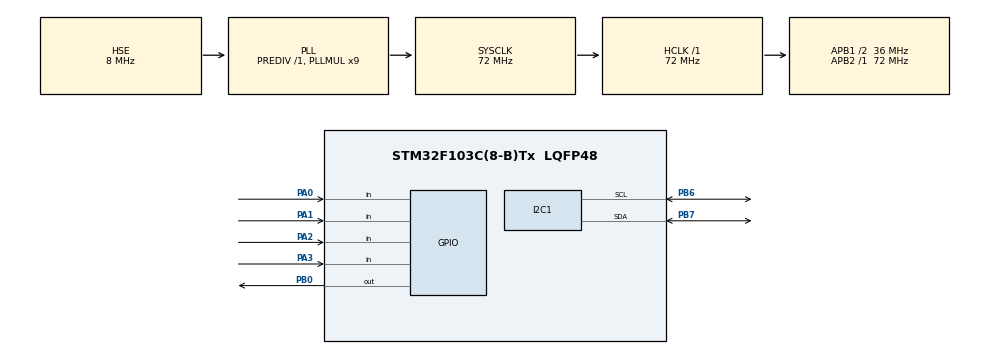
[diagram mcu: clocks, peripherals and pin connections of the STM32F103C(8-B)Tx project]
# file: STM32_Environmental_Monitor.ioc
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IWDG.Prescaler=IWDG_PRESCALER_64
IWDG.Reload=1250
Mcu.Family=STM32F1
Mcu.Name=STM32F103C(8-B)Tx
Mcu.Package=LQFP48
NVIC.PriorityGroup=NVIC_PRIORITYGROUP_4
PA0-WKUP.GPIO_PuPd=GPIO_PULLUP
PA0-WKUP.Signal=GPIO_Input
PA1.GPIO_PuPd=GPIO_PULLUP
PA1.Signal=GPIO_Input
PA13.Mode=Serial_Wire
PA13.Signal=SYS_JTMS-SWDIO
PA14.Mode=Serial_Wire
PA14.Signal=SYS_JTCK-SWCLK
PA2.GPIO_PuPd=GPIO_PULLUP
PA2.Signal=GPIO_Input
PA3.GPIO_PuPd=GPIO_PULLUP
PA3.Signal=GPIO_Input
PB0.GPIO_PuPd=GPIO_NOPULL
PB0.Signal=GPIO_Output
PB6.Mode=I2C
PB6.Signal=I2C1_SCL
PB7.Mode=I2C
PB7.Signal=I2C1_SDA
PD0-OSC_IN.Mode=HSE-External-Oscillator
PD0-OSC_IN.Signal=RCC_OSC_IN
PD1-OSC_OUT.Mode=HSE-External-Oscillator
PD1-OSC_OUT.Signal=RCC_OSC_OUT
ProjectManager.HeapSize=0x200
ProjectManager.StackSize=0x400
ProjectManager.TargetToolchain=CMake
RCC.AHBFreq_Value=72000000
RCC.APB1CLKDivider=RCC_HCLK_DIV2
RCC.APB1Freq_Value=36000000
RCC.APB1TimFreq_Value=72000000
RCC.APB2Freq_Value=72000000
RCC.APB2TimFreq_Value=72000000
RCC.HCLKFreq_Value=72000000
RCC.PLLMUL=RCC_PLL_MUL9
RCC.PLLSourceVirtual=RCC_PLLSOURCE_HSE
RCC.SYSCLKFreq_VALUE=72000000
RCC.SYSCLKSource=RCC_SYSCLKSOURCE_PLLCLK
RCC.USBFreq_Value=72000000
VP_IWDG_VS_IWDG.Mode=IWDG_Activate
board=custom

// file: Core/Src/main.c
/* USER CODE BEGIN Header */
/**
  ******************************************************************************
  * @file           : main.c
  * @brief          : Main program body
  ******************************************************************************
  * @attention
  *
  * Copyright (c) 2026 STMicroelectronics.
  * All rights reserved.
  *
  * This software is licensed under terms that can be found in the LICENSE file
  * in the root directory of this software component.
  * If no LICENSE file comes with this software, it is provided AS-IS.
  *
  ******************************************************************************
  */
/* USER CODE END Header */
#include "main.h"
#include "i2c.h"
#include "iwdg.h"
#include "gpio.h"

/* USER CODE BEGIN Includes */
#include "oled.h"
#include "sht30.h"
#include "led.h"
#include "param_manager.h"
#include "power_monitor.h"
#include "env_monitor.h"
#include "alarm_ctrl.h"
#include "key_handler.h"
/* USER CODE END Includes */

/* USER CODE BEGIN PTD */
static I2C_Bus_Ctx i2c1_ctx;
static OLED_Ctx oled_ctx;
static SHT30_Ctx sht30_ctx;
/* USER CODE END PTD */

void SystemClock_Config(void);

int main(void)
{

  /* USER CODE BEGIN 1 */
    uint32_t now_tick = 0;

  /* USER CODE END 1 */

  /* MCU Configuration--------------------------------------------------------*/

  /* Reset of all peripherals, Initializes the Flash interface and the Systick. */
  HAL_Init();

  /* Configure the system clock */
  SystemClock_Config();

  /* Initialize all configured peripherals */
  MX_GPIO_Init();
  MX_I2C1_Init();
  MX_IWDG_Init();
  /* USER CODE BEGIN 2 */
    I2C_Bus_Init(&i2c1_ctx, &hi2c1);
    OLED_Init(&oled_ctx, &i2c1_ctx);
    SHT30_Init(&sht30_ctx, &i2c1_ctx);

    // 恢复阈值。必须在打开PVD中断之前完成
    Param_Init();
    // 打开掉电检测，开启PVD掉电检测中断
    Power_Monitor_Init();

    EnvMonitor_Init(&sht30_ctx, &oled_ctx);

  /* USER CODE END 2 */

  /* Infinite loop */
  /* USER CODE BEGIN WHILE */
    while (1)
    {
        now_tick = HAL_GetTick();

        Key_Update();

        ParamField_t selected = KeyHandler_GetSelectedField();
        // 非阻塞调度
        if (EnvMonitor_Update(now_tick, selected))
        {
            const EnvData_t *env = EnvMonitor_GetData();
            const ThresholdParam_t *param = Param_GetHandle();

            if (AlarmCtrl_Update(env->temp, env->humi, param->temp_low, param->temp_high, param->humi_low, param->humi_high))
                LED_On();
            else
                LED_Off();
        }

        // -------喂狗函数-------
        // IWDG（独立看门狗，Independent Watchdog）
        // 挂在独立的低速内部时钟（LSI，约40kHz）上，跟主时钟系统完全独立
        // 超时时间 = (Prescaler × Reload) / 40000(LSI) 秒
        // Prescaler = 64
        // Reload    = 1250
        // 超时时间 2 秒
        // 上面的程序常态运行时间在325ms左右，光oled刷新就耗费306ms
        // -------6倍余量，超时时间2秒绰绰有余-------
        HAL_IWDG_Refresh(&hiwdg);

    /* USER CODE END WHILE */

    }
}

void SystemClock_Config(void)
{
  RCC_OscInitTypeDef RCC_OscInitStruct = {0};
  RCC_ClkInitTypeDef RCC_ClkInitStruct = {0};

  /** Initializes the RCC Oscillators according to the specified parameters
  * in the RCC_OscInitTypeDef structure.
  */
  RCC_OscInitStruct.OscillatorType = RCC_OSCILLATORTYPE_LSI|RCC_OSCILLATORTYPE_HSE;
  RCC_OscInitStruct.HSEState = RCC_HSE_ON;
  RCC_OscInitStruct.HSEPredivValue = RCC_HSE_PREDIV_DIV1;
  RCC_OscInitStruct.HSIState = RCC_HSI_ON;
  RCC_OscInitStruct.LSIState = RCC_LSI_ON;
  RCC_OscInitStruct.PLL.PLLState = RCC_PLL_ON;
  RCC_OscInitStruct.PLL.PLLSource = RCC_PLLSOURCE_HSE;
  RCC_OscInitStruct.PLL.PLLMUL = RCC_PLL_MUL9;
  if (HAL_RCC_OscConfig(&RCC_OscInitStruct) != HAL_OK)
  {
    Error_Handler();
  }

  /** Initializes the CPU, AHB and APB buses clocks
  */
  RCC_ClkInitStruct.ClockType = RCC_CLOCKTYPE_HCLK|RCC_CLOCKTYPE_SYSCLK
                              |RCC_CLOCKTYPE_PCLK1|RCC_CLOCKTYPE_PCLK2;
  RCC_ClkInitStruct.SYSCLKSource = RCC_SYSCLKSOURCE_PLLCLK;
  RCC_ClkInitStruct.AHBCLKDivider = RCC_SYSCLK_DIV1;
  RCC_ClkInitStruct.APB1CLKDivider = RCC_HCLK_DIV2;
  RCC_ClkInitStruct.APB2CLKDivider = RCC_HCLK_DIV1;

  if (HAL_RCC_ClockConfig(&RCC_ClkInitStruct, FLASH_LATENCY_2) != HAL_OK)
  {
    Error_Handler();
  }
}

void Error_Handler(void)
{
  __disable_irq();
  while (1)
  {
  }
}
